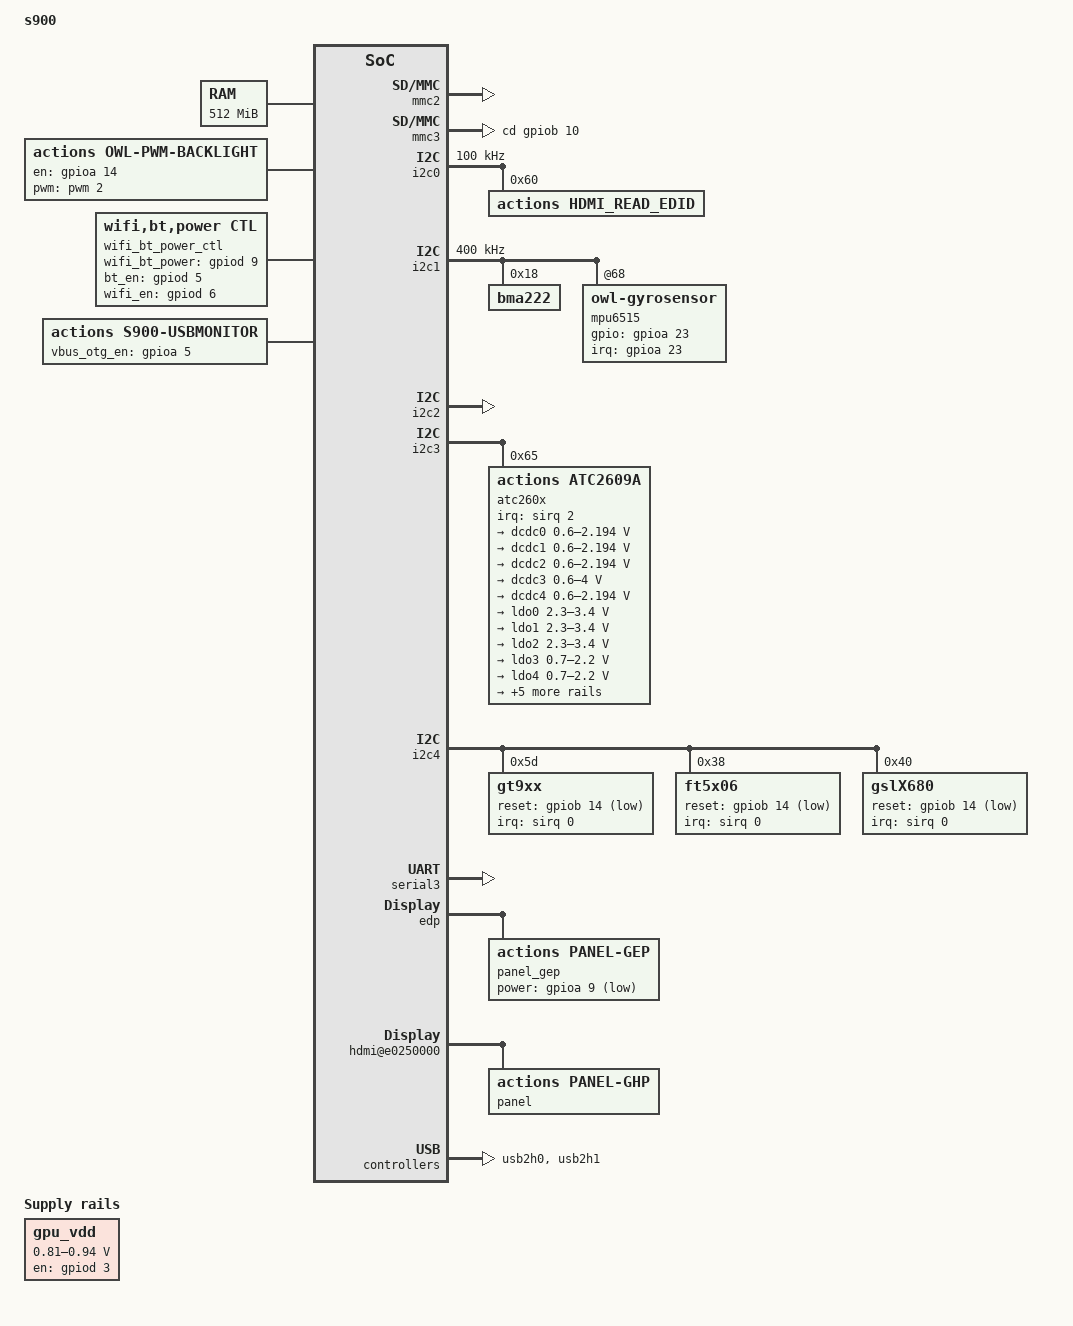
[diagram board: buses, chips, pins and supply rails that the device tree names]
/*
 * Copyright (C) 2014 Actions Semi. Inc
 *
 * This program is free software; you can redistribute it and/or
 * modify it under the terms of the GNU General Public License as
 * published by the Free Software Foundation version 2.
 *
 * This program is distributed "as is" WITHOUT ANY WARRANTY of any
 * kind, whether express or implied; without even the implied warranty
 * of MERCHANTABILITY or FITNESS FOR A PARTICULAR PURPOSE.  See the
 * GNU General Public License for more details.
 */

/dts-v1/;

/* reserve 48MB for logo(fb) */
/memreserve/ 0x19000000 0x03000000;

/* reserve 48MB for ion0(fb) */
/memreserve/ 0x1C000000 0x03000000;

/* reserve 512MB for ion1(pmem) */
/memreserve/ 0x20000000 0x20000000;

/* reserve 4k for afinfo */
/memreserve/ 0x18FFF000 0x1000;

#include "s900.dtsi"

/ {
	model = "s900";
	compatible = "actions,s900", "actions,s900-evb";

	chosen {
		bootargs="console=ttyS5,115200 earlyprintk=serial-owl,0xe012a000 no_console_suspend";
	};

	memory@00000000 {
		device_type = "memory";
		reg = <0 0x00000000 0 0x20000000>;
	};

	ion_config {
		compatible = "actions,s900-ion";
		actions,ion_heap_fb_base = <0x1c000000>;
		actions,ion_heap_fb_size = <0x03000000>;
		actions,ion_heap_pmem_base = <0x20000000>;
		actions,ion_heap_pmem_size = <0x20000000>;
	};

	mbr {
		compatible = "actions,mbr_table";
	};

	gpiod: gpiod@e01b0000 {
		pinctrl-names = "default";
		pinctrl-0 = <&pinctrl_gpio_lvds_o>;
	};

	pinctrl@e01b0000 {
		pinctrl_i2c4: i2c4 {
			i2c4_mfp {
				actions,groups = "mfp3_8";
				actions,function = "i2c4";
			};

			i2c4_pull {
				actions,pins = "P_UART4_RX", "P_UART4_TX";
				actions,pull = <2>;
			};
		};
	};

	pwm: pwm@e01b0000 {
		pwm2 {
			id = <2>;
			pinctrl-names = "default";
			pinctrl-0 = <&pwm2_state_default>;
		};
	};

	mmc0: mmc@e0338000 {
		card-type = "emmc";
		status = "disabled";
	};

	mmc1: mmc@e033c000 {
		card-type = "emmc";
		status = "disabled";
	};

	mmc2: mmc@e0334000 {
		card-type = "wifi";
		wifi-card-voltage = "1.8v";  /* only: "1.8v", "3.1v" */
		status = "okay";
	};

	mmc3: mmc@e0330000 {
		card-type = "memory";  /* only: "memory", "wifi", or "emmc" */
		card-detect-mode = "gpio";  /* only: "sirq", "gpio", or "command" */
		cd-gpios = <&gpiob 10 0>; /*hr280ac GPIOB10 */
		sd_vcc = "ldo0";
		status = "okay";
	};

	i2c0: i2c@e0170000 {
		clock-frequency = <100000>;
		status = "okay";
		hdmi_read_edid@60 {
			compatible = "actions,hdmi_read_edid";
			reg = <0x60>;
		};
	};

	i2c1: i2c@e0172000 {
		clock-frequency = <400000>;
		status = "okay";
		bma222@18 {
			compatible = "bma222";
			reg = <0x18>;
			position = "-3";
			calibration = <0 0 0>;
		};

		mpu6515@68 {
			compatible = "owl-gyrosensor";
			interrupt-parent = <&gpioa>;
			interrupts = <23>;
			gpios = <&gpioa 23 0>; /* GPIOA23 */
			i2c_adapter_id = <1>;
			MASTER_inv6515_position = "-1";
			SECONDARY_ak8963c_position = "-4";
		};
	};


	i2c2: i2c@e0174000 {
		status = "okay";
	};

	i2c3: i2c@e0176000 {
		status = "okay";
		/* atc2609a (5303) */
		atc260x: atc2609a@65 {
			compatible = "actions,atc2609a","actions,atc260x";
			reg = <0x65>;
			interrupt-parent = <&sirq>;
			interrupts = <2>;
			interrupt-controller;
			#interrupt-cells = <1>;

			losc_32k_output_enable = <1>;    /* enable/disable output 32.768K clock via AUXIN1 pin */

			pm {
				compatible = "actions,atc2609a-pm";
			};

			onoff {
				compatible = "actions,atc2609a-onoff";
			};

			rtc{
				compatible = "actions,atc2609a-rtc";
			};

			atc260x_gpio{
				compatible = "actions,atc2609a-gpio";
			};

			atc260x-adckeypad{
#define KEY_HOME				102
#define KEY_MENU				139
#define KEY_BACK				158
#define KEY_VOLUMEDOWN				114
#define KEY_VOLUMEUP				115
				keymapsize = <2>;                   /* number of ADC key */
				filter_dep = <3>;                   /* depth of the moving average filter (length of filter queue) */
				variance = <15>;                    /* filter will not output until the difference between every two ADC samples in the filter queue goes below this value */
				poll_interval =  <20>;              /* sample period, in ms */
				left_adc_val =  <750 1620>;           /* for key code translator, each value defines a lower bound of ADC value of a key */
				right_adc_val = <850 1720>;          /* for key code translator, each value defines a upper bound of ADC value of a key */
				key_val = <KEY_VOLUMEUP KEY_VOLUMEDOWN>; /* for key code translator, each value defines the key_code of a key */
				adc_channel_name = "AUX0";          /* the ADC channel used for sampling, valid names are REMCON AUX0 AUX1 AUX2 (AUX3) */
				compatible = "actions,atc2609a-adckeypad";
				key_check_mode = <1>;              /*  0:  GPIO key;  1:  ADC key   */
			};

			/*the cfg params must be read	in the first installed ko,
			 now snd-soc-atv5302.ko is first installed.
			 1, earphone_detect_level use the third value of earphone_gpios
			 2, commonly, we shouldn't change the value of speaker_gain and earphone_gain*/

			atc260x-audio{
				compatible = "actions,atc2609a-audio";
				status = "okay";
                                pinctrl-names = "default";
                                pinctrl-0 = <&i2s0_state_default>;
				clocks = <&clock CLK_AUDIO_PLL>, <&clock CLK_HDMI_AUDIO>;
				clock-names = "audio_pll", "hdmia";
				earphone_detect_gpios = <&gpioa 3 0>; /*0: high, 1: low hr280ac GPIOA3 0*/
				speaker_en_gpios = <&gpioa 19 1>; /*hr280ac GPIOA(19) 0: high, 1: low*/
				earphone_output_mode = <0>; /*0: direct mode, 1: undirect mode*/
				mic_num = <1>; /*just suport 1, 2*/
				mic0_gain = < 0x7 0x7 >; /*<Lchannel,Rchannel> [0x0~0xF]*/
				speaker_gain = < 0xaa 0xaa >; /*<Lchannel,Rchannel>[0x00~0xbebe]*/
				earphone_gain = < 0xbe 0xbe >; /*<Lchannel,Rchannel>[0x00~0xbebe]*/
				speaker_volume = < 0x28 0x28 >; /*volume [0x00~0x28]*/
				earphone_volume = < 0x28 0x28 >; /*volume [0x00~0x28]*/
				earphone_detect_mode = <0>;  /*0: polling,   1: interrupt*/
			};

			atc260x-hwmon{
				compatible = "actions,atc2609a-hwmon";
			};

			atc260x-charger{
				compatible = "actions,atc2609a-charger";
				rsense = <20>;/*unit:mohm*/
				bat_type = <1>;/*0:4.18v; 1:4.2v; 2:4.3v; 3:4.35v*/
				bl_on_current_usb_pc = <300>;
				bl_off_current_usb_pc = <500>;
				bl_on_current_usb_adp = <300>;
				bl_off_current_usb_adp = <800>;
				bl_on_current_wall_adp = <300>;
				bl_off_current_wall_adp = <1500>;
				support_adaptor_type = <3>; /*1: DCIN  2: USB  3:DCIN+USB*/
				ext_charger = <0>;
				usb_adapter_as_ac = <1>;/*0:usb ada keep itself; 1:usb ada used as DCIN when usb plug and batv<3.3v during minicharge*/
				usb_pc_ctl_mode = <1>; /*0:disable vbus ctl;1:current limited;2:voltage limited*/
			};

			atc2609a-battery{
				compatible = "actions,atc2609a-battery";
				ocv_table = <2972 3603 3683 3689 3715 3738 3765 3767 3796 3825 3872 3930 3981 4053 4118 4197>;/*mv*/
				r_table = <99 99 86 83 82 81 84 86 82 82 96 105 92 86 81 80>;/*mohm*/
				design_capacity = <6000>;/*unit:mAh*/
				taper_vol = <4180>;/*unit:mv*/
				taper_cur = <300>;/*unit:ma*/
				term_vol = <3400>;/*unit:mv*/
				ov_protect = <4275>;/*unit:mv*/
				sleep_current = <15000>;/*unit:ua*/
				shutdown_current = <50>;/*unit:ua*/
				boot_cap_threshold = <3>;
				bl_on_vol = <3300>;/*unit:mv*/
				print_switch = <0>;
				log_switch = <1>;
			};

			/* DCDC0       VDD_CORE
			 * DCDC1       VDD_CPU
			 * DCDC2       VDDR
			 * DCDC3       VCC
			 * DCDC4       VDD_CPUM
			 */
			dcdc0: dcdc0 {
				compatible = "actions,atc2609a-dcdc0","actions,atc2609a-dcdc";
				regulator-name = "dcdc0";
				regulator-min-microvolt = <600000>;
				regulator-max-microvolt = <2193750>;
				regulator-always-on;
			};

			dcdc1: dcdc1 {
				compatible = "actions,atc2609a-dcdc1","actions,atc2609a-dcdc";
				regulator-name = "dcdc1";
				regulator-min-microvolt = <600000>;
				regulator-max-microvolt = <2193750>;
				regulator-always-on;
			};

			dcdc2: dcdc2 {
				compatible = "actions,atc2609a-dcdc2","actions,atc2609a-dcdc";
				regulator-name = "dcdc2";
				regulator-min-microvolt = <600000>;
				regulator-max-microvolt = <2193750>;
				regulator-always-on;
			};

			dcdc3: dcdc3 {
				compatible = "actions,atc2609a-dcdc3","actions,atc2609a-dcdc";
				regulator-name = "dcdc3";
				regulator-min-microvolt = <600000>;
				regulator-max-microvolt = <4000000>;
				regulator-always-on;
			};

			dcdc4: dcdc4 {
				compatible = "actions,atc2609a-dcdc4","actions,atc2609a-dcdc";
				regulator-name = "dcdc4";
				regulator-min-microvolt = <600000>;
				regulator-max-microvolt = <2193750>;
				regulator-always-on;
			};

			/* LDO0        SD_VCC     3.1v
			 * LDO1        SENS_AVDD  2.8v
			 * LDO2        AVCC       3.1v
			 * LDO3        5303_VDD   1.0v
			 * LDO4        AVCC_1V8   1.8v
			 * LDO5
			 * LDO6        AVDD_1V0   1.0v
			 * LDO7        SENS_DVDD  1.8v
			 * LDO8        TP_VCC     3.1v
			 * LDO9        RTC_VDD    3.1v   */

			ldo0: ldo0{
				compatible = "actions,atc2609a-ldo0","actions,atc2609a-ldo";
				regulator-name = "ldo0";
				regulator-min-microvolt  = <2300000>;
				regulator-max-microvolt = <3400000>;
				regulator-always-on;
			};

			ldo1: ldo1{
				compatible = "actions,atc2609a-ldo1","actions,atc2609a-ldo";
				regulator-name = "ldo1";
				regulator-min-microvolt  = <2300000>;
				regulator-max-microvolt = <3400000>;
				regulator-always-on;
				regulator-suspend-off;
			};

			ldo2: ldo2{
				compatible = "actions,atc2609a-ldo2","actions,atc2609a-ldo";
				regulator-name = "ldo2";
				regulator-min-microvolt  = <2300000>;
				regulator-max-microvolt = <3400000>;
				regulator-always-on;
			};

			ldo3: ldo3{
				compatible = "actions,atc2609a-ldo3","actions,atc2609a-ldo";
				regulator-name = "ldo3";
				regulator-min-microvolt  = <700000>;
				regulator-max-microvolt = <2200000>;
				regulator-always-on;
			};

			ldo4: ldo4{
				compatible = "actions,atc2609a-ldo4","actions,atc2609a-ldo";
				regulator-name = "ldo4";
				regulator-min-microvolt  = <700000>;
				regulator-max-microvolt = <2200000>;
				regulator-always-on;
			};

			ldo5: ldo5{
				compatible = "actions,atc2609a-ldo5","actions,atc2609a-ldo";
				regulator-name = "ldo5";
				regulator-min-microvolt  = <700000>;
				regulator-max-microvolt = <2200000>;
			};

			ldo6: ldo6{
				compatible = "actions,atc2609a-ldo6","actions,atc2609a-ldo";
				regulator-name = "ldo6";
				regulator-min-microvolt  = <850000>;
				regulator-max-microvolt = <2200000>;
				regulator-always-on;
			};

			ldo7: ldo7{
				compatible = "actions,atc2609a-ldo7","actions,atc2609a-ldo";
				regulator-name = "ldo7";
				regulator-min-microvolt  = <700000>;
				regulator-max-microvolt = <2200000>;
				regulator-always-on;
				regulator-suspend-off;
			};

			ldo8: ldo8{
				compatible = "actions,atc2609a-ldo8","actions,atc2609a-ldo";
				regulator-name = "ldo8";
				regulator-min-microvolt  = <2100000>;
				regulator-max-microvolt = <3300000>;
			};

			ldo9: ldo9{
				compatible = "actions,atc2609a-ldo9","actions,atc2609a-ldo";
				regulator-name = "ldo9";
				regulator-min-microvolt  = <2600000>;
				regulator-max-microvolt = <3300000>;
				regulator-always-on;
			};
		};
	};

	i2c4: i2c@e0178000 {
		pinctrl-names = "default";
		pinctrl-0 = <&pinctrl_i2c4>;
		status = "okay";
		
		gt9xx@5d {
			compatible = "gt9xx";
			reg = <0x5d>;
			tp_vcc = "ldo8";
			reset_gpios = <&gpiob 14 1>; /*GPIOB(14) 0: high, 1: low*/
			x_pixel = <768>;
			y_pixel = <1366>;
			x_revert_en = <0>;
			y_revert_en = <0>;
			xy_swap_en = <0>;
			rotate_degree = <0>;  /* 0 90 180 270 */
			interrupt-parent = <&sirq>;
			interrupts = < 0 0x4 >; /*SIRQ0*/
			vol_range = <3100000 3110000>;
		};
		
		ft5x06@38 {
			compatible = "ft5x06";
			reg = <0x38>;
			tp_vcc = "ldo8";
			reset_gpios = <&gpiob 14 1>; /*GPIOB(14) 0: high, 1: low*/
			x_pixel = <800>;
			y_pixel = <1280>;
			x_revert_en = <1>;
			y_revert_en = <0>;
			xy_swap_en = <1>;
			rotate_degree = <0>;  /* 0 90 180 270 */
			interrupt-parent = <&sirq>;
			interrupts = < 0 0x4 >; /*SIRQ0*/
			vol_range = <3100000 3110000>;
		};

		gslX680@40 {
			compatible = "gslX680";
			reg = <0x40>;
			tp_vcc = "ldo8";
			reset_gpios = <&gpiob 14 1>;/*GPIOB(14) 0: high, 1: low*/
			x_pixel = <1200>;
			y_pixel = <1920>;
			x_revert_en = <1>;
			y_revert_en = <0>;
			xy_swap_en = <0>;
			rotate_degree = <0>;     /* 0 90 180 270 */
			interrupt-parent = <&sirq>;
			interrupts = < 0 0x4 >; /*SIRQ0*/
			vol_range = <3100000 3110000>;
		};
	};

	serial3: uart@e0126000 {
		dmas = <&dma DMA_DRQ_UART3_TX>, <&dma DMA_DRQ_UART3_RX>;
		dma-names = "tx", "rx";
		status = "okay";
	};

	isp0: isp@e0270000 {
		mirror_flip = <10>;  /* bit-0:rear camera; bit-1:front camera; 0: no flip,no mirror; 1: no flip,horizontal mirror; 2:vertical flip,no mirror; 3: vertical flip,horizontal mirror */

		dovdd-src = "regulator";  /* only: "gpio", "regulator" */
		dovdd-regulator = "ldo7";
		dovdd-regulator-scope = <1800000 1810000>;  /* uV */	

		avdd-src = "gpio";  /* only: "gpio", "regulator" */
		avdd-gpios = <&gpioa 18 1>; /* GPIOA18 */

		board_type = "ces";/* "ces" or "evb"*/
		sensors = "dual"; /* "dual", "front" or "rear" */
		pwdn-rear-gpios = <&gpiod 12 1>; /* GPIOD12 */
		pwdn-front-gpios = <&gpiod 14 1>; /* GPIOD14 */
		front-reset-gpios = <&gpiod 18 1>; /*GPIOD18*/
		rear-reset-gpios = <&gpiod 16 1>; /*GPIOD16*/

		pinctrl-names = "default";
		pinctrl-0 = <&mipi_csi0_state_default>, <&mipi_csi1_state_default>;

		status = "okay"; /* create platform-device */
	};

	sensors: isp-sensor {
		compatible = "sensor_common";
		i2c_adapter = <&i2c2>; /* 0-3 begin from enabled ones */

		status = "disabled";
	};

	edp: edp@e02e0000 {
		panel_configs = <&config0>;

		/* 
		 * edp_configs, used to configure edp controller,
		 * its values should set according to edp panel's spec.
		 * Currently, the configration is for HN116WX1-100 panel.
		 */
		config0: edp_configs {
			link_rate = <1>;	/* 0, 1.62G; 1, 2.7G; 2, 5.4G */

			lane_count = <1>;
			lane_polarity = <0x0>;	/* bit map for lanes' polarity,
						   0 normal, 1 reversed */
			lane_mirror = <1>;	/* lane mirror, 0 lane0~3, 1 lane3~0 */

			mstream_polarity = <0x2>;/* bit map for mstream's polarity,
						   bit1: vsync, bit0 hsync */
			user_sync_polarity = <0xf>;/* bit map for user sync's polarity,
						    * bit3: sync signal polarity,
						    * bit2: enable signal polarity,
						    * bit1: vsync polarity,
						    * bit0: hsync polarity
						    */

			pclk_parent = <0>;	/* 0, ASSIST_PLL, 1, DISPLAY PLL */
			pclk_rate = <62500000>;/* 62.5MHz, ASSIST_PLL, divider 2.5 */
		};
	
		/* HN116WX1-100 edp panel */
		panel_gep: edp_panel {
			compatible = "actions,panel-gep";

			/* panel's fixed info */
			width_mm = <156>;
			height_mm = <144>;
			bpp = <18>;

			/* operation delay in ms */
			power_on_delay = <250>;
			power_off_delay = <200>;
			enable_delay = <200>;
			disable_delay = <0>;

			power-gpio = <&gpioa 9 1>;/* GPIOA9, low power on */

         		videomode-0 = <&mode0>;

			/* 1366x768p55 */
			mode0: video_mode {
				refresh_rate = <55>;

				xres = <1368>;
				yres = <768>;

				pixel_clock = <15152>;

				hsw = <30>;
				hbp = <10>;
				hfp = <60>;

				vsw = <2>;
				vbp = <2>;
				vfp = <10>;

				/* 0: FB_VMODE_NONINTERLACED, 1:FB_VMODE_INTERLACED */
				vmode = <0>;
			};
		};
	};

	backlight {
		compatible = "actions,owl-pwm-backlight";

		/* GPIOA14, active high */
		en-gpios = <&gpioa 14 0>;

		/*1.pwm num; 2. period in ns; */
		/*3.plarity, 0: high active, 1: low active*/
		pwms = <&pwm 2 50000 1>;

		total_steps = <1024>;
		min_brightness = <100>;
		max_brightness = <1000>;
		dft_brightness = <500>;

		delay_bf_pwm = <0>; /*in ms*/
		delay_af_pwm = <200>; /*in ms*/
	};

	wifi_bt_power_ctl {
		compatible = "wifi,bt,power,ctl";
		//bt_power_gpio = <&gpioa 16 0>;/*GPIOA20, high active*/   /*BT_WAKE*/
		wifi_bt_power_gpios = <&gpiod 9 0>; /*  GPIOd9 */
		bt_en_gpios = <&gpiod 5 0>;/*GPIOd5, high active*/  /*M3305 A17 reset pin*/
		wifi_en_gpios = <&gpiod 6 0>; /* GPIOd6*/
	};

	hdmi@e0250000 {
		tmds-avdd-supply = <&ldo4>;

		hdcp_onoff = <0>;
		channel_invert = <0>;
		bit_invert = <0>;

		panel@ghp {
			compatible = "actions,panel-ghp";

			bootenable = <0>;
			bootrotate = <0>;
		};
	};

	monitor {
		compatible = "actions,s900-usbmonitor";
		detect_type = <3>; /* config what to detect, 0:DISABLE ; 1:DEVICE_ONLY; 2:HOST_ONLY; 3: HOST_AND_DEVICE*/
		idpin_type   = <0>; /* 0:use ic's idpin;      1:soft idpin,##no support!##;       2:gpio idpin,use gpio to detect,need to add a "idpin_gpio" configuration */
		vbus_type   = <2>; /* 0:use ic's vbuspin; 1:gpio vbus,##no support!## ;      2:use dc5v to detect vbus level*/

		force_detect = <33>; /*11: force b_in; 22 force b_out,33:force a_in,44:force a_out*/
		/*vbus_otg_en_gpio is use to turn on/off otg vbus,it's different from vbus detect gpio;*/
		vbus_otg_en_gpios = <&gpioa 5 0>;  /* GPIOA5,  1: low active; 0: high active */
		//idpin_gpio = <&gpiob 31 1>;   /*if idpin detect by gpio,config the gpio to GPIOB31, input,0: low active; 1: high active*/
		status = "okay";
	};

	owl_usb_config {
		compatible = "actions,owl-usb-config";
		usb_serialnumber_config = <1>; /* config serialnumber string format, 0: fixed serial no in ascii format; 1: fixed serial no in unicode format; 2:non-fixed serial no in unicode format*/
		usb_hs_output_strength = <3>; /*defaut:3,range:0~7; 0:min,7:max;usb high speed(2.0)transmitter output strength*/
		status = "okay";
	};

 	usb2h0: usb@e02b0000 {
		vbus_otg_en_gpio = <&gpioa 2 0>; /*GPIO A2 1:high enable vubs,0:low enable vbus*/
		port_host_plug_detect = <1>; /*0:disable 1:enable detect and vbus contrl 2:only detect 3:enalbe detect and usb1&usb2 use the same gpio*/
		status = "okay";
	};

	usb2h1: usb@e02c0000 {
		vbus_otg_en_gpio =<&gpiod 0 0>; /*GPIO D0 1:high enable vubs,0:low enable vbus*/
		port_host_plug_detect = <1>; /*0:disable 1:enable detect and vbus contrl 2:only detect 3:enalbe detect and usb1&usb2 use the same gpio*/
		status = "okay";
	};
	
	gpu_vdd: gpio-regulator {
	   compatible = "regulator-gpio";

	   regulator-name = "gpu-gpio-supply";
	   regulator-type = "voltage";
	   regulator-min-microvolt = <810000>;
	   regulator-max-microvolt = <940000>;

	   enable-gpio = <&gpiod 3 0x4>;
	   gpios = <&gpioa 24 0x4>;
	   states = <810000 0x1
	   	     940000 0x0>;

	   startup-delay-us = <2000>;
	   enable-active-high;
	};

	gpu@e0600000 {
		gpu-supply = <&gpu_vdd>;

		// frequency table: frequency(Hz), voltage(uV), down_threshold(%), up_threshold(%)
		clock-rates {
			core = <352000000 940000 0 100>;
			mem  = <352000000 940000 0 100>;
		};
	};
};
